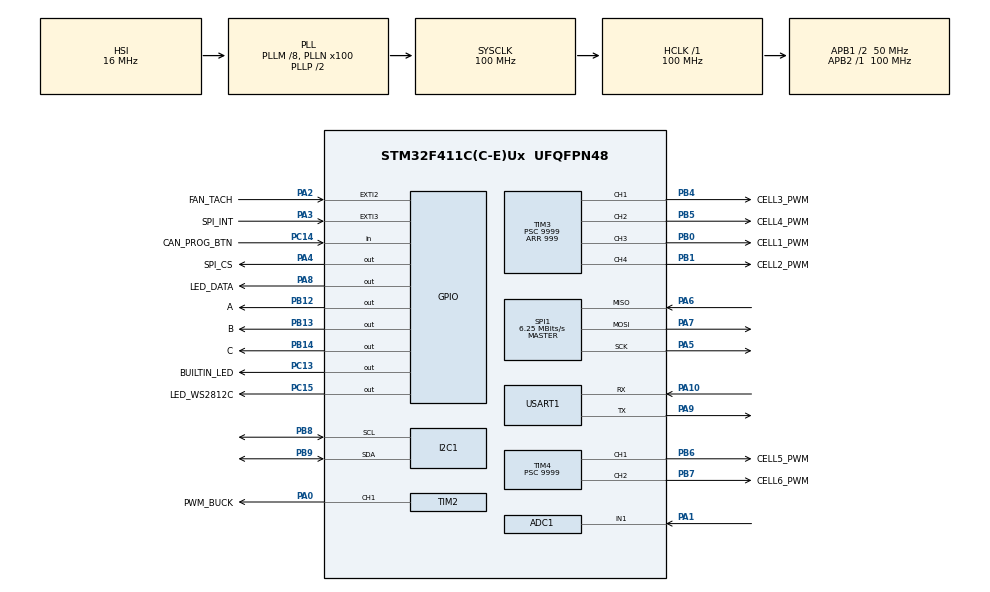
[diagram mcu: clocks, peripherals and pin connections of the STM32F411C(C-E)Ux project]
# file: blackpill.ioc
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ADC1.Channel-0\#ChannelRegularConversion=ADC_CHANNEL_1
ADC1.NbrOfConversionFlag=1
ADC1.Rank-0\#ChannelRegularConversion=1
ADC1.SamplingTime-0\#ChannelRegularConversion=ADC_SAMPLETIME_3CYCLES
ADC1.master=1
FREERTOS.Queues01=uartRxQueue,5,20,1,Dynamic,NULL,NULL
FREERTOS.Tasks01=uartTask,24,512,UartTask,Default,NULL,Dynamic,NULL,NULL;canTask,24,1024,CanTaskHandler,Default,NULL,Dynamic,NULL,NULL;chargerTask,32,512,ChargerTaskHandler,Default,NULL,Dynamic,NULL,NULL;adcTask,24,256,AdcTaskHandler,Default,NULL,Dynamic,NULL,NULL;balanceTask,8,256,BalanceTaskHandler,Default,NULL,Dynamic,NULL,NULL
FREERTOS.configTOTAL_HEAP_SIZE=40960
Mcu.Family=STM32F4
Mcu.Name=STM32F411C(C-E)Ux
Mcu.Package=UFQFPN48
NVIC.PriorityGroup=NVIC_PRIORITYGROUP_4
NVIC.TIM1_UP_TIM10_IRQn=true\:15\:0\:false\:false\:true\:false\:false\:true\:true
NVIC.TimeBase=TIM1_UP_TIM10_IRQn
NVIC.TimeBaseIP=TIM1
PA0-WKUP.GPIO_Label=PWM_BUCK
PA0-WKUP.Signal=S_TIM2_CH1_ETR
PA1.Signal=ADCx_IN1
PA10.Mode=Asynchronous
PA10.Signal=USART1_RX
PA13.Mode=Serial_Wire
PA13.Signal=SYS_JTMS-SWDIO
PA14.Mode=Serial_Wire
PA14.Signal=SYS_JTCK-SWCLK
PA2.GPIO_Label=FAN_TACH
PA2.GPIO_PuPd=GPIO_PULLUP
PA2.Signal=GPXTI2
PA3.GPIO_Label=SPI_INT
PA3.Signal=GPXTI3
PA4.GPIO_Label=SPI_CS
PA4.Signal=GPIO_Output
PA5.Mode=Full_Duplex_Master
PA5.Signal=SPI1_SCK
PA6.Mode=Full_Duplex_Master
PA6.Signal=SPI1_MISO
PA7.Mode=Full_Duplex_Master
PA7.Signal=SPI1_MOSI
PA8.GPIO_Label=LED_DATA
PA8.GPIO_PuPd=GPIO_NOPULL
PA8.GPIO_Speed=GPIO_SPEED_FREQ_HIGH
PA8.Signal=GPIO_Output
PA9.Mode=Asynchronous
PA9.Signal=USART1_TX
PB0.GPIO_Label=CELL1_PWM
PB0.Signal=S_TIM3_CH3
PB1.GPIO_Label=CELL2_PWM
PB1.Signal=S_TIM3_CH4
PB12.GPIO_Label=A
PB12.Signal=GPIO_Output
PB13.GPIO_Label=B
PB13.Signal=GPIO_Output
PB14.GPIO_Label=C
PB14.Signal=GPIO_Output
PB4.GPIO_Label=CELL3_PWM
PB4.Signal=S_TIM3_CH1
PB5.GPIO_Label=CELL4_PWM
PB5.Signal=S_TIM3_CH2
PB6.GPIO_Label=CELL5_PWM
PB6.Signal=S_TIM4_CH1
PB7.GPIO_Label=CELL6_PWM
PB7.Signal=S_TIM4_CH2
PB8.Mode=I2C
PB8.Signal=I2C1_SCL
PB9.Mode=I2C
PB9.Signal=I2C1_SDA
PC13-ANTI_TAMP.GPIO_Label=BUILTIN_LED
PC13-ANTI_TAMP.Signal=GPIO_Output
PC14-OSC32_IN.GPIO_Label=CAN_PROG_BTN
PC14-OSC32_IN.Signal=GPIO_Input
PC15-OSC32_OUT.GPIO_Label=LED_WS2812C
PC15-OSC32_OUT.Signal=GPIO_Output
PH0\ -\ OSC_IN.Mode=HSE-External-Oscillator
PH0\ -\ OSC_IN.Signal=RCC_OSC_IN
PH1\ -\ OSC_OUT.Mode=HSE-External-Oscillator
PH1\ -\ OSC_OUT.Signal=RCC_OSC_OUT
ProjectManager.HeapSize=0x200
ProjectManager.StackSize=0x400
ProjectManager.TargetToolchain=CMake
RCC.48MHZClocksFreq_Value=50000000
RCC.AHBFreq_Value=100000000
RCC.APB1CLKDivider=RCC_HCLK_DIV2
RCC.APB1Freq_Value=50000000
RCC.APB1TimFreq_Value=100000000
RCC.APB2Freq_Value=100000000
RCC.APB2TimFreq_Value=100000000
RCC.CortexFreq_Value=100000000
RCC.HCLKFreq_Value=100000000
RCC.HSE_VALUE=25000000
RCC.HSI_VALUE=16000000
RCC.LSE_VALUE=32768
RCC.PLLM=8
RCC.PLLN=100
RCC.SYSCLKFreq_VALUE=100000000
RCC.SYSCLKSource=RCC_SYSCLKSOURCE_PLLCLK
RCC.VCOOutputFreq_Value=200000000
SH.ADCx_IN1.0=ADC1_IN1,IN1
SH.S_TIM2_CH1_ETR.0=TIM2_CH1,PWM Generation1 CH1
SH.S_TIM3_CH1.0=TIM3_CH1,PWM Generation1 CH1
SH.S_TIM3_CH2.0=TIM3_CH2,PWM Generation2 CH2
SH.S_TIM3_CH3.0=TIM3_CH3,PWM Generation3 CH3
SH.S_TIM3_CH4.0=TIM3_CH4,PWM Generation4 CH4
SH.S_TIM4_CH1.0=TIM4_CH1,PWM Generation1 CH1
SH.S_TIM4_CH2.0=TIM4_CH2,PWM Generation2 CH2
SPI1.BaudRatePrescaler=SPI_BAUDRATEPRESCALER_16
SPI1.CalculateBaudRate=6.25 MBits/s
SPI1.Direction=SPI_DIRECTION_2LINES
SPI1.Mode=SPI_MODE_MASTER
SPI1.VirtualType=VM_MASTER
TIM2.Channel-PWM\ Generation1\ CH1=TIM_CHANNEL_1
TIM2.Period=666
TIM2.Pulse-PWM\ Generation1\ CH1=0
TIM3.Channel-PWM\ Generation1\ CH1=TIM_CHANNEL_1
TIM3.Channel-PWM\ Generation2\ CH2=TIM_CHANNEL_2
TIM3.Channel-PWM\ Generation3\ CH3=TIM_CHANNEL_3
TIM3.Channel-PWM\ Generation4\ CH4=TIM_CHANNEL_4
TIM3.Period=999
TIM3.Prescaler=9999
TIM3.Pulse-PWM\ Generation1\ CH1=0
TIM3.Pulse-PWM\ Generation2\ CH2=0
TIM3.Pulse-PWM\ Generation3\ CH3=0
TIM3.Pulse-PWM\ Generation4\ CH4=0
TIM4.Channel-PWM\ Generation1\ CH1=TIM_CHANNEL_1
TIM4.Channel-PWM\ Generation2\ CH2=TIM_CHANNEL_2
TIM4.Period=999
TIM4.Prescaler=9999
TIM4.Pulse-PWM\ Generation1\ CH1=0
TIM4.Pulse-PWM\ Generation2\ CH2=0
USART1.VirtualMode=VM_ASYNC
VP_FREERTOS_VS_CMSIS_V2.Mode=CMSIS_V2
VP_SYS_VS_tim1.Mode=TIM1
board=custom

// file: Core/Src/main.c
/* USER CODE BEGIN Header */
/**
  ******************************************************************************
  * @file           : main.c
  * @brief          : Main program body
  ******************************************************************************
  * @attention
  *
  * Copyright (c) 2025 STMicroelectronics.
  * All rights reserved.
  *
  * This software is licensed under terms that can be found in the LICENSE file
  * in the root directory of this software component.
  * If no LICENSE file comes with this software, it is provided AS-IS.
  *
  ******************************************************************************
  */
/* USER CODE END Header */
#include "main.h"
#include "cmsis_os.h"

/* USER CODE BEGIN Includes */
#include "cmsis_os2.h"
#include "mcp2515.h"
#include <stdint.h>
#include <stdio.h>
#include <string.h>
#include <math.h>
#include "can_process.h"
#include "param_types.h"
#include <stdlib.h>
#include "battery_charge.h"
#include "battery_balance.h"
/* USER CODE END Includes */

ADC_HandleTypeDef hadc1;

I2C_HandleTypeDef hi2c1;

SPI_HandleTypeDef hspi1;

TIM_HandleTypeDef htim2;
TIM_HandleTypeDef htim3;
TIM_HandleTypeDef htim4;

UART_HandleTypeDef huart1;

// Global balance enable flag
volatile uint8_t can_balance_enabled = 0;

/* Definitions for uartTask */
osThreadId_t uartTaskHandle;
const osThreadAttr_t uartTask_attributes = {
  .name = "uartTask",
  .stack_size = 512 * 4,  // 2KB for JSON telemetry buffer (~600 bytes)
  .priority = (osPriority_t) osPriorityBelowNormal,  // Non-critical, can be preempted
};
/* Definitions for canTask */
osThreadId_t canTaskHandle;
const osThreadAttr_t canTask_attributes = {
  .name = "canTask",
  .stack_size = 1024 * 4,
  .priority = (osPriority_t) osPriorityHigh,  // CAN is time-critical
};
/* Definitions for chargerTask */
osThreadId_t chargerTaskHandle;
const osThreadAttr_t chargerTask_attributes = {
  .name = "chargerTask",
  .stack_size = 512 * 4,
  .priority = (osPriority_t) osPriorityAboveNormal,
};
/* Definitions for adcTask */
osThreadId_t adcTaskHandle;
const osThreadAttr_t adcTask_attributes = {
  .name = "adcTask",
  .stack_size = 256 * 4,
  .priority = (osPriority_t) osPriorityNormal,
};
/* Definitions for balanceTask */
osThreadId_t balanceTaskHandle;
const osThreadAttr_t balanceTask_attributes = {
  .name = "balanceTask",
  .stack_size = 256 * 4,
  .priority = (osPriority_t) osPriorityLow,
};
/* Definitions for uartRxQueue */
osMessageQueueId_t uartRxQueueHandle;
const osMessageQueueAttr_t uartRxQueue_attributes = {
  .name = "uartRxQueue"
};
/* Definitions for voltage data mutex */
osMutexId_t voltageDataMutexHandle;
const osMutexAttr_t voltageDataMutex_attributes = {
  .name = "voltageDataMutex"
};
/* USER CODE BEGIN PV */
// Global variables to store settings
volatile float end_voltage = 24.6f;
volatile float end_voltage_storage = 20.2f; // default ~3.7V per cell for 6S
volatile float set_current = 2.0f;
volatile uint8_t system_state = 0x00; // 0x00 = System ok, 0x0X = error codes
volatile uint16_t charged_mah = 0;
volatile uint16_t charging_power = 0;
volatile uint8_t is_battery_present = 0;
volatile bool is_battery_charging = false;
volatile uint8_t manual_balance_mode = 0;  // 1 = manual PWM via CAN, skip auto logic

volatile ChargerFaultStatus charger_faults = {0};
//Fan RPM measurement variables
volatile uint32_t fan_int_count = 0;
volatile uint32_t fan_rpm = 0;

volatile uint8_t rxByte;
VoltageValues current_battery_voltages = {
  .cell = {0.0f, 0.0f, 0.0f, 0.0f, 0.0f, 0.0f},
  .cell_raw = {0, 0, 0, 0, 0, 0},
  .battery_voltage = 0.0f,
  .shunt_voltage = 0.0f,
  .buck_voltage = 0.0f,
  .current = 0.0f
};
#define CMD_MAX_LEN 64

 void uart_send_frame(const char *prefix, CAN_Frame *frame)
{
  char buffer[128];
  int len = 0;
  len += snprintf(buffer, sizeof(buffer), "%sCAN ID: 0x%03lX | DLC: %d | Data: ",
           prefix ? prefix : "", (unsigned long)frame->id, frame->dlc);
  for (uint8_t i = 0; i < frame->dlc && i < 8; i++) {
    len += snprintf(buffer + len, sizeof(buffer) - len, "%02X ", frame->data[i]);
  }
  if (frame->extended) {
    len += snprintf(buffer + len, sizeof(buffer) - len, "| EXT");
  }
  if (frame->rtr) {
    len += snprintf(buffer + len, sizeof(buffer) - len, " RTR");
  }
  len += snprintf(buffer + len, sizeof(buffer) - len, "\r\n");
  HAL_UART_Transmit(&huart1, (uint8_t*)buffer, len, HAL_MAX_DELAY);
}
static void start_pwm_or_error(TIM_HandleTypeDef *htim, uint32_t channel);

// Helper function to safely disable all PWM outputs
static inline void disable_all_pwm(void)
{
  __disable_irq();
  __HAL_TIM_SET_COMPARE(&htim2, TIM_CHANNEL_1, 0);
  __HAL_TIM_SET_COMPARE(&htim3, TIM_CHANNEL_1, 0);
  __HAL_TIM_SET_COMPARE(&htim3, TIM_CHANNEL_2, 0);
  __HAL_TIM_SET_COMPARE(&htim3, TIM_CHANNEL_3, 0);
  __HAL_TIM_SET_COMPARE(&htim3, TIM_CHANNEL_4, 0);
  __HAL_TIM_SET_COMPARE(&htim4, TIM_CHANNEL_1, 0);
  __HAL_TIM_SET_COMPARE(&htim4, TIM_CHANNEL_2, 0);
  __enable_irq();
}

// Helper function to safely read voltage data
VoltageValues get_battery_voltages_safe(void)
{
  VoltageValues snapshot;
  osMutexAcquire(voltageDataMutexHandle, osWaitForever);
  snapshot = current_battery_voltages;
  osMutexRelease(voltageDataMutexHandle);
  return snapshot;
}

// Helper function to safely write voltage data
static inline void set_battery_voltages_safe(const VoltageValues *voltages)
{
  osMutexAcquire(voltageDataMutexHandle, osWaitForever);
  current_battery_voltages = *voltages;
  osMutexRelease(voltageDataMutexHandle);
}

#if DEBUG_TELEMETRY
static const char *charger_state_to_string_public(ChargerState state)
{
  switch (state) {
    case CHARGER_STATE_IDLE: return "IDLE";
    case CHARGER_STATE_CC: return "CC";
    case CHARGER_STATE_CV: return "CV";
    case CHARGER_STATE_COMPLETE: return "COMPLETE";
    case CHARGER_STATE_FAULT: return "FAULT";
    case CHARGER_STATE_STORAGE: return "STORAGE";
    default: return "UNKNOWN";
  }
}

static inline float safe_float(float val) {
  // Simple: if exponent bits are all 1s (NaN/inf), return 0
  // Otherwise return value as-is (even if garbage - will show in JSON)
  union { float f; uint32_t u; } conv;
  conv.f = val;
  uint32_t exp = (conv.u >> 23) & 0xFF;
  if (exp == 0xFF || exp == 0) {
    return 0.0f;  // NaN, inf, or denormal
  }
  return val;
}

static void uart_send_status_json(void)
{
  static uint32_t call_counter = 0;
  call_counter++;

  VoltageValues v = get_battery_voltages_safe();

  float pack_v = 0.0f;
  for (uint8_t i = 0; i < 6; ++i) {
    pack_v += safe_float(v.cell[i]);
  }

  // If battery absent, zero out pack and cell readings
  if (!is_battery_present) {
    pack_v = 0.0f;
    v.battery_voltage = 0.0f;
    v.shunt_voltage = 0.0f;
    for (uint8_t i = 0; i < 6; ++i) {
      v.cell[i] = 0.0f;
    }
  }

  uint32_t ts_ms = HAL_GetTick();

  uint8_t duty[6];
  uint32_t pwm_raw[6];
  for (uint8_t i = 0; i < 6; ++i) {
    duty[i] = balance_get_last_duty(i);
    pwm_raw[i] = balance_get_last_pulse(i);
  }

  ChargerState st = charger_get_state();

  float pwm = safe_float(charger_get_pwm_duty());
  float pwm_counts = safe_float(charger_get_pwm_counts_raw());
  float pwm_counts_max = safe_float(charger_get_pwm_counts_max());

  // Convert floats to int.frac manually (snprintf doesn't support %f without -u _printf_float)
  // Use abs() for fractional part to handle negative values

  float pack_val = pack_v;
  int pack_v_i = (int)pack_val;
  int pack_v_f = (int)(fabsf(pack_val - pack_v_i) * 1000.0f);

  float curr_val = safe_float(v.current);
  int curr_i = (int)curr_val;
  int curr_f = (int)(fabsf(curr_val - curr_i) * 1000.0f);

  float buck_val = safe_float(v.buck_voltage);
  int buck_i = (int)buck_val;
  int buck_f = (int)(fabsf(buck_val - buck_i) * 1000.0f);

  float batt_val = safe_float(v.battery_voltage);
  int batt_i = (int)batt_val;
  int batt_f = (int)(fabsf(batt_val - batt_i) * 1000.0f);

  float shunt_val = safe_float(v.shunt_voltage);
  int shunt_i = (int)shunt_val;
  int shunt_f = (int)(fabsf(shunt_val - shunt_i) * 1000.0f);

  float c0_val = safe_float(v.cell[0]); int c0_i = (int)c0_val; int c0_f = (int)(fabsf(c0_val - c0_i) * 1000.0f);
  float c1_val = safe_float(v.cell[1]); int c1_i = (int)c1_val; int c1_f = (int)(fabsf(c1_val - c1_i) * 1000.0f);
  float c2_val = safe_float(v.cell[2]); int c2_i = (int)c2_val; int c2_f = (int)(fabsf(c2_val - c2_i) * 1000.0f);
  float c3_val = safe_float(v.cell[3]); int c3_i = (int)c3_val; int c3_f = (int)(fabsf(c3_val - c3_i) * 1000.0f);
  float c4_val = safe_float(v.cell[4]); int c4_i = (int)c4_val; int c4_f = (int)(fabsf(c4_val - c4_i) * 1000.0f);
  float c5_val = safe_float(v.cell[5]); int c5_i = (int)c5_val; int c5_f = (int)(fabsf(c5_val - c5_i) * 1000.0f);

  int pwm_i = (int)pwm; int pwm_f = (int)(fabsf(pwm - pwm_i) * 100.0f);
  int pwm_cnt = (int)pwm_counts; int pwm_max = (int)pwm_counts_max;

  float tgt_v_val = safe_float(end_voltage); int tgt_v_i = (int)tgt_v_val; int tgt_v_f = (int)(fabsf(tgt_v_val - tgt_v_i) * 100.0f);
  float tgt_i_val = safe_float(set_current); int tgt_i_i = (int)tgt_i_val; int tgt_i_f = (int)(fabsf(tgt_i_val - tgt_i_i) * 100.0f);

    char json[600];
  int len = snprintf(
      json,
      sizeof(json),
      "{\"ts_ms\":%lu,\"pack\":{\"present\":%u,\"v\":%d.%03d,\"i\":%d.%03d,\"buck\":%d.%03d,\"battery\":%d.%03d,\"shunt\":%d.%03d},"
      "\"cells\":[%d.%03d,%d.%03d,%d.%03d,%d.%03d,%d.%03d,%d.%03d],"
      "\"balance\":{\"enabled\":%u,\"duties\":[%u,%u,%u,%u,%u,%u],\"pwm_raw\":[%lu,%lu,%lu,%lu,%lu,%lu]},"
      "\"charger\":{\"state\":\"%s\",\"pwm\":%d.%02d,\"pwm_raw\":%d,\"pwm_max\":%d,\"target_v\":%d.%02d,\"target_i\":%d.%02d,\"charged_mah\":%u,\"power_w\":%u},"
      "\"fan\":{\"rpm\":%lu,\"status\":\"%s\"}}\r\n",
      ts_ms,
      is_battery_present,
      pack_v_i, pack_v_f, curr_i, curr_f, buck_i, buck_f, batt_i, batt_f, shunt_i, shunt_f,
      c0_i, c0_f, c1_i, c1_f, c2_i, c2_f, c3_i, c3_f, c4_i, c4_f, c5_i, c5_f,
      can_balance_enabled,
      duty[0], duty[1], duty[2], duty[3], duty[4], duty[5],
      pwm_raw[0], pwm_raw[1], pwm_raw[2], pwm_raw[3], pwm_raw[4], pwm_raw[5],
      charger_state_to_string_public(st),
      pwm_i, pwm_f, pwm_cnt, pwm_max, tgt_v_i, tgt_v_f, tgt_i_i, tgt_i_f, charged_mah, charging_power,
      fan_rpm, charger_faults.fan_error ? "FAULT" : "OK");

  if (len > 0 && len < (int)sizeof(json)) {
    (void)HAL_UART_Transmit(&huart1, (uint8_t *)json, (uint16_t)len, 200);
  }
}
#else
static inline void uart_send_status_json(void) {(void)0;}
#endif

volatile uint8_t CAN_ID = 0x75; // Default value, will be overwritten on startup

/* USER CODE END PV */

void SystemClock_Config(void);
static void MX_GPIO_Init(void);
static void MX_SPI1_Init(void);
static void MX_USART1_UART_Init(void);
static void MX_ADC1_Init(void);
static void MX_I2C1_Init(void);
static void MX_TIM2_Init(void);
static void MX_TIM3_Init(void);
static void MX_TIM4_Init(void);
void UartTask(void *argument);
void CanTaskHandler(void *argument);
void ChargerTaskHandler(void *argument);
void AdcTaskHandler(void *argument);
void BalanceTaskHandler(void *argument);

int main(void)
{

  /* MCU Configuration--------------------------------------------------------*/

  /* Reset of all peripherals, Initializes the Flash interface and the Systick. */
  HAL_Init();

  /* Configure the system clock */
  SystemClock_Config();

  /* Initialize all configured peripherals */
  MX_GPIO_Init();
  MX_SPI1_Init();
  MX_USART1_UART_Init();
  MX_ADC1_Init();
  MX_I2C1_Init();
  MX_TIM2_Init();
  MX_TIM3_Init();
  MX_TIM4_Init();
  /* USER CODE BEGIN 2 */
  HAL_TIM_PWM_Start(&htim2, TIM_CHANNEL_1);

  // Disable all balancer PWM channels on startup
  balance_disable_all_cells();

  // WS2812 LEDs completely disabled - pin set to ANALOG in MX_GPIO_Init
  // HAL_GPIO_WritePin(LED_WS2812C_GPIO_Port, LED_WS2812C_Pin, GPIO_PIN_RESET);

  ChargerControllerCfg charger_cfg = {
    // PI gains tuned down to prevent oscillation and overshoot.
    // Kp provides primary response, Ki corrects for steady-state error.
    .current_kp = 15.0f,      // Reduced from 50.0f to be less aggressive
    .current_ki = 2.0f,       // Reduced from 10.0f
    .voltage_kp = 0.2f,
    .voltage_ki = 0.05f,
    .integral_limit = 600.0f,
    .duty_min = 3.0f,
    .duty_max = 95.0f,
    .voltage_hysteresis = 0.2f,
    .termination_current = 0.5f,
    .termination_hold_ms = 5000,
    .cell_overvoltage_limit = 4.25f,
    .update_period_ms = 100,
    .control_mode = CHARGER_CTRL_PI
  };
  charger_controller_init(charger_cfg);
  charger_set_targets(end_voltage, set_current);

  /* Start UART interrupt-driven receive for 1 byte */
  HAL_UART_Receive_IT(&huart1, (uint8_t *)&rxByte, 1);

  // Read CAN ID from flash on startup
  CAN_ID = ParamStore_Read_CAN_ID();
  FlashParams startup_params = ReadAllParams();
  if (startup_params.storage_volt > 0.0f) {
    end_voltage_storage = startup_params.storage_volt;
  }
  if(DEBUG_INFO){
  char canid_msg[64];
  snprintf(canid_msg, sizeof(canid_msg), "[INIT] Startup CAN_ID from flash: 0x%02X\r\n", CAN_ID);
  HAL_UART_Transmit(&huart1, (uint8_t*)canid_msg, strlen(canid_msg), HAL_MAX_DELAY);
  // Initialize MCP2515 with 125kbps CAN speed
  const char* init_msg = "[INIT] Initializing MCP2515 at 125kbps...\r\n";
  HAL_UART_Transmit(&huart1, (uint8_t*)init_msg, strlen(init_msg), HAL_MAX_DELAY);
  }
  // Add small delay for MCP2515 power-up
  HAL_Delay(100);

  MCP2515_ERROR result = MCP2515_Init(&hspi1, CAN_125KBPS);

  if (result == MCP2515_OK) {
    if(DEBUG_INFO){
      const char* success_init_msg = "[INIT] MCP2515 initialization successful.\r\n";
      HAL_UART_Transmit(&huart1, (uint8_t*)success_init_msg, strlen(success_init_msg), HAL_MAX_DELAY);
    }
    const char* success_msg = "[INIT] MCP2515 initialized successfully!\r\n";
    HAL_UART_Transmit(&huart1, (uint8_t*)success_msg, strlen(success_msg), HAL_MAX_DELAY);
  } else {
    char error_msg[100];
      snprintf(error_msg, sizeof(error_msg), "[ERROR] MCP2515 initialization failed! Error: %d\r\n", result);
      HAL_UART_Transmit(&huart1, (uint8_t*)error_msg, strlen(error_msg), HAL_MAX_DELAY);
    // Try to read a register to test SPI communication
    HAL_Delay(10);
    uint8_t test_read = MCP2515_ReadRegister(&hspi1, MCP2515_CANSTAT);
    if(DEBUG_INFO) {
      snprintf(error_msg, sizeof(error_msg), "[INIT] CANSTAT register read: 0x%02X\r\n", test_read);
      HAL_UART_Transmit(&huart1, (uint8_t*)error_msg, strlen(error_msg), HAL_MAX_DELAY);
    }
    // Continue anyway to allow debugging
  }
if (DEBUG_INFO) {
  const char* ready_msg = "[INIT] Ready to receive CAN messages...\r\n";
  HAL_UART_Transmit(&huart1, (uint8_t*)ready_msg, strlen(ready_msg), HAL_MAX_DELAY);
}

  /* USER CODE END 2 */

  /* Init scheduler */
  osKernelInitialize();

  /* USER CODE BEGIN RTOS_MUTEX */
  /* add mutexes, ... */
  voltageDataMutexHandle = osMutexNew(&voltageDataMutex_attributes);
  if (voltageDataMutexHandle == NULL) {
    Error_Handler();  // Failed to create mutex
  }
  /* USER CODE END RTOS_MUTEX */

  /* Create the queue(s) */
  /* creation of uartRxQueue */
  uartRxQueueHandle = osMessageQueueNew(64, sizeof(uint8_t), &uartRxQueue_attributes);

  /* USER CODE BEGIN RTOS_QUEUES */
  /* add queues, ... */
  if (uartRxQueueHandle == NULL) {
    Error_Handler();  // Failed to create queue
  }
  /* USER CODE END RTOS_QUEUES */

  /* Create the thread(s) */
  /* creation of uartTask */
  uartTaskHandle = osThreadNew(UartTask, NULL, &uartTask_attributes);

  /* creation of canTask */
  canTaskHandle = osThreadNew(CanTaskHandler, NULL, &canTask_attributes);

  /* creation of chargerTask */
  chargerTaskHandle = osThreadNew(ChargerTaskHandler, NULL, &chargerTask_attributes);

  /* creation of adcTask */
  adcTaskHandle = osThreadNew(AdcTaskHandler, NULL, &adcTask_attributes);

  /* creation of balanceTask */
  balanceTaskHandle = osThreadNew(BalanceTaskHandler, NULL, &balanceTask_attributes);

  /* USER CODE BEGIN RTOS_THREADS */
  /* Validate all tasks were created successfully */
  if (uartTaskHandle == NULL || canTaskHandle == NULL ||
      chargerTaskHandle == NULL || adcTaskHandle == NULL ||
      balanceTaskHandle == NULL) {
    Error_Handler();  // Failed to create one or more tasks
  }

  /* USER CODE BEGIN RTOS_THREADS */
  /* add threads, ... */
  /* USER CODE END RTOS_THREADS */

  /* USER CODE BEGIN RTOS_EVENTS */
  /* add events, ... */
  // HAL_UART_Receive_IT already called in USER CODE BEGIN 2

  /* USER CODE END RTOS_EVENTS */

  /* Start scheduler */
  osKernelStart();

  /* We should never get here as control is now taken by the scheduler */

  /* Infinite loop */
  while (1)
  {

    /* USER CODE BEGIN 3 */
    // This should never be reached as control is taken by FreeRTOS scheduler
  }
  /* USER CODE END 3 */
}

void SystemClock_Config(void)
{
  RCC_OscInitTypeDef RCC_OscInitStruct = {0};
  RCC_ClkInitTypeDef RCC_ClkInitStruct = {0};

  /** Configure the main internal regulator output voltage
  */
  __HAL_RCC_PWR_CLK_ENABLE();
  __HAL_PWR_VOLTAGESCALING_CONFIG(PWR_REGULATOR_VOLTAGE_SCALE1);

  /** Initializes the RCC Oscillators according to the specified parameters
  * in the RCC_OscInitTypeDef structure.
  */
  RCC_OscInitStruct.OscillatorType = RCC_OSCILLATORTYPE_HSI;
  RCC_OscInitStruct.HSIState = RCC_HSI_ON;
  RCC_OscInitStruct.HSICalibrationValue = RCC_HSICALIBRATION_DEFAULT;
  RCC_OscInitStruct.PLL.PLLState = RCC_PLL_ON;
  RCC_OscInitStruct.PLL.PLLSource = RCC_PLLSOURCE_HSI;
  RCC_OscInitStruct.PLL.PLLM = 8;
  RCC_OscInitStruct.PLL.PLLN = 100;
  RCC_OscInitStruct.PLL.PLLP = RCC_PLLP_DIV2;
  RCC_OscInitStruct.PLL.PLLQ = 4;
  if (HAL_RCC_OscConfig(&RCC_OscInitStruct) != HAL_OK)
  {
    Error_Handler();
  }

  /** Initializes the CPU, AHB and APB buses clocks
  */
  RCC_ClkInitStruct.ClockType = RCC_CLOCKTYPE_HCLK|RCC_CLOCKTYPE_SYSCLK
                              |RCC_CLOCKTYPE_PCLK1|RCC_CLOCKTYPE_PCLK2;
  RCC_ClkInitStruct.SYSCLKSource = RCC_SYSCLKSOURCE_PLLCLK;
  RCC_ClkInitStruct.AHBCLKDivider = RCC_SYSCLK_DIV1;
  RCC_ClkInitStruct.APB1CLKDivider = RCC_HCLK_DIV2;
  RCC_ClkInitStruct.APB2CLKDivider = RCC_HCLK_DIV1;

  if (HAL_RCC_ClockConfig(&RCC_ClkInitStruct, FLASH_LATENCY_3) != HAL_OK)
  {
    Error_Handler();
  }
}

static void MX_ADC1_Init(void)
{

  ADC_ChannelConfTypeDef sConfig = {0};

  /** Configure the global features of the ADC (Clock, Resolution, Data Alignment and number of conversion)
  */
  hadc1.Instance = ADC1;
  hadc1.Init.ClockPrescaler = ADC_CLOCK_SYNC_PCLK_DIV4;
  hadc1.Init.Resolution = ADC_RESOLUTION_12B;
  hadc1.Init.ScanConvMode = DISABLE;
  hadc1.Init.ContinuousConvMode = DISABLE;
  hadc1.Init.DiscontinuousConvMode = DISABLE;
  hadc1.Init.ExternalTrigConvEdge = ADC_EXTERNALTRIGCONVEDGE_NONE;
  hadc1.Init.ExternalTrigConv = ADC_SOFTWARE_START;
  hadc1.Init.DataAlign = ADC_DATAALIGN_RIGHT;
  hadc1.Init.NbrOfConversion = 1;
  hadc1.Init.DMAContinuousRequests = DISABLE;
  hadc1.Init.EOCSelection = ADC_EOC_SINGLE_CONV;
  if (HAL_ADC_Init(&hadc1) != HAL_OK)
  {
    Error_Handler();
  }

  /** Configure for the selected ADC regular channel its corresponding rank in the sequencer and its sample time.
  */
  sConfig.Channel = ADC_CHANNEL_1;
  sConfig.Rank = 1;
  sConfig.SamplingTime = ADC_SAMPLETIME_3CYCLES;
  if (HAL_ADC_ConfigChannel(&hadc1, &sConfig) != HAL_OK)
  {
    Error_Handler();
  }

}

static void MX_I2C1_Init(void)
{

  hi2c1.Instance = I2C1;
  hi2c1.Init.ClockSpeed = 100000;
  hi2c1.Init.DutyCycle = I2C_DUTYCYCLE_2;
  hi2c1.Init.OwnAddress1 = 0;
  hi2c1.Init.AddressingMode = I2C_ADDRESSINGMODE_7BIT;
  hi2c1.Init.DualAddressMode = I2C_DUALADDRESS_DISABLE;
  hi2c1.Init.OwnAddress2 = 0;
  hi2c1.Init.GeneralCallMode = I2C_GENERALCALL_DISABLE;
  hi2c1.Init.NoStretchMode = I2C_NOSTRETCH_DISABLE;
  if (HAL_I2C_Init(&hi2c1) != HAL_OK)
  {
    Error_Handler();
  }

}

static void MX_SPI1_Init(void)
{

  /* SPI1 parameter configuration*/
  hspi1.Instance = SPI1;
  hspi1.Init.Mode = SPI_MODE_MASTER;
  hspi1.Init.Direction = SPI_DIRECTION_2LINES;
  hspi1.Init.DataSize = SPI_DATASIZE_8BIT;
  hspi1.Init.CLKPolarity = SPI_POLARITY_LOW;
  hspi1.Init.CLKPhase = SPI_PHASE_1EDGE;
  hspi1.Init.NSS = SPI_NSS_SOFT;
  hspi1.Init.BaudRatePrescaler = SPI_BAUDRATEPRESCALER_16;
  hspi1.Init.FirstBit = SPI_FIRSTBIT_MSB;
  hspi1.Init.TIMode = SPI_TIMODE_DISABLE;
  hspi1.Init.CRCCalculation = SPI_CRCCALCULATION_DISABLE;
  hspi1.Init.CRCPolynomial = 10;
  if (HAL_SPI_Init(&hspi1) != HAL_OK)
  {
    Error_Handler();
  }

}

static void MX_TIM2_Init(void)
{

  TIM_MasterConfigTypeDef sMasterConfig = {0};
  TIM_OC_InitTypeDef sConfigOC = {0};

  htim2.Instance = TIM2;
  htim2.Init.Prescaler = 0;
  htim2.Init.CounterMode = TIM_COUNTERMODE_UP;
  htim2.Init.Period = 666;
  htim2.Init.ClockDivision = TIM_CLOCKDIVISION_DIV1;
  htim2.Init.AutoReloadPreload = TIM_AUTORELOAD_PRELOAD_DISABLE;
  if (HAL_TIM_PWM_Init(&htim2) != HAL_OK)
  {
    Error_Handler();
  }
  sMasterConfig.MasterOutputTrigger = TIM_TRGO_RESET;
  sMasterConfig.MasterSlaveMode = TIM_MASTERSLAVEMODE_DISABLE;
  if (HAL_TIMEx_MasterConfigSynchronization(&htim2, &sMasterConfig) != HAL_OK)
  {
    Error_Handler();
  }
  sConfigOC.OCMode = TIM_OCMODE_PWM1;
  sConfigOC.Pulse = 0;
  sConfigOC.OCPolarity = TIM_OCPOLARITY_HIGH;
  sConfigOC.OCFastMode = TIM_OCFAST_DISABLE;
  if (HAL_TIM_PWM_ConfigChannel(&htim2, &sConfigOC, TIM_CHANNEL_1) != HAL_OK)
  {
    Error_Handler();
  }
  HAL_TIM_MspPostInit(&htim2);

}

static void MX_TIM3_Init(void)
{

  TIM_MasterConfigTypeDef sMasterConfig = {0};
  TIM_OC_InitTypeDef sConfigOC = {0};

  htim3.Instance = TIM3;
  htim3.Init.Prescaler = 9999;
  htim3.Init.CounterMode = TIM_COUNTERMODE_UP;
  htim3.Init.Period = 999;
  htim3.Init.ClockDivision = TIM_CLOCKDIVISION_DIV1;
  htim3.Init.AutoReloadPreload = TIM_AUTORELOAD_PRELOAD_DISABLE;
  if (HAL_TIM_PWM_Init(&htim3) != HAL_OK)
  {
    Error_Handler();
  }
  sMasterConfig.MasterOutputTrigger = TIM_TRGO_RESET;
  sMasterConfig.MasterSlaveMode = TIM_MASTERSLAVEMODE_DISABLE;
  if (HAL_TIMEx_MasterConfigSynchronization(&htim3, &sMasterConfig) != HAL_OK)
  {
    Error_Handler();
  }
  sConfigOC.OCMode = TIM_OCMODE_PWM1;
  sConfigOC.Pulse = 0;
  sConfigOC.OCPolarity = TIM_OCPOLARITY_HIGH;
  sConfigOC.OCFastMode = TIM_OCFAST_DISABLE;
  if (HAL_TIM_PWM_ConfigChannel(&htim3, &sConfigOC, TIM_CHANNEL_1) != HAL_OK)
  {
    Error_Handler();
  }
  if (HAL_TIM_PWM_ConfigChannel(&htim3, &sConfigOC, TIM_CHANNEL_2) != HAL_OK)
  {
    Error_Handler();
  }
  if (HAL_TIM_PWM_ConfigChannel(&htim3, &sConfigOC, TIM_CHANNEL_3) != HAL_OK)
  {
    Error_Handler();
  }
  if (HAL_TIM_PWM_ConfigChannel(&htim3, &sConfigOC, TIM_CHANNEL_4) != HAL_OK)
  {
    Error_Handler();
  }
  HAL_TIM_MspPostInit(&htim3);

}

static void MX_TIM4_Init(void)
{

  TIM_MasterConfigTypeDef sMasterConfig = {0};
  TIM_OC_InitTypeDef sConfigOC = {0};

  htim4.Instance = TIM4;
  htim4.Init.Prescaler = 9999;
  htim4.Init.CounterMode = TIM_COUNTERMODE_UP;
  htim4.Init.Period = 999;
  htim4.Init.ClockDivision = TIM_CLOCKDIVISION_DIV1;
  htim4.Init.AutoReloadPreload = TIM_AUTORELOAD_PRELOAD_DISABLE;
  if (HAL_TIM_PWM_Init(&htim4) != HAL_OK)
  {
    Error_Handler();
  }
  sMasterConfig.MasterOutputTrigger = TIM_TRGO_RESET;
  sMasterConfig.MasterSlaveMode = TIM_MASTERSLAVEMODE_DISABLE;
  if (HAL_TIMEx_MasterConfigSynchronization(&htim4, &sMasterConfig) != HAL_OK)
  {
    Error_Handler();
  }
  sConfigOC.OCMode = TIM_OCMODE_PWM1;
  sConfigOC.Pulse = 0;
  sConfigOC.OCPolarity = TIM_OCPOLARITY_HIGH;
  sConfigOC.OCFastMode = TIM_OCFAST_DISABLE;
  if (HAL_TIM_PWM_ConfigChannel(&htim4, &sConfigOC, TIM_CHANNEL_1) != HAL_OK)
  {
    Error_Handler();
  }
  if (HAL_TIM_PWM_ConfigChannel(&htim4, &sConfigOC, TIM_CHANNEL_2) != HAL_OK)
  {
    Error_Handler();
  }
  /* USER CODE BEGIN TIM4_Init 2 */
  start_pwm_or_error(&htim4, TIM_CHANNEL_2);
  start_pwm_or_error(&htim4, TIM_CHANNEL_1);
  start_pwm_or_error(&htim3, TIM_CHANNEL_1);
  start_pwm_or_error(&htim3, TIM_CHANNEL_2);
  start_pwm_or_error(&htim3, TIM_CHANNEL_3);
  start_pwm_or_error(&htim3, TIM_CHANNEL_4);
  start_pwm_or_error(&htim2, TIM_CHANNEL_1);
  /* USER CODE END TIM4_Init 2 */
  HAL_TIM_MspPostInit(&htim4);

}

static void MX_USART1_UART_Init(void)
{

  huart1.Instance = USART1;
  huart1.Init.BaudRate = 921600;
  huart1.Init.WordLength = UART_WORDLENGTH_8B;
  huart1.Init.StopBits = UART_STOPBITS_1;
  huart1.Init.Parity = UART_PARITY_NONE;
  huart1.Init.Mode = UART_MODE_TX_RX;
  huart1.Init.HwFlowCtl = UART_HWCONTROL_NONE;
  huart1.Init.OverSampling = UART_OVERSAMPLING_16;
  if (HAL_UART_Init(&huart1) != HAL_OK)
  {
    Error_Handler();
  }

}

static void MX_GPIO_Init(void)
{
  GPIO_InitTypeDef GPIO_InitStruct = {0};

  /* GPIO Ports Clock Enable */
  __HAL_RCC_GPIOC_CLK_ENABLE();
  __HAL_RCC_GPIOH_CLK_ENABLE();
  __HAL_RCC_GPIOA_CLK_ENABLE();
  __HAL_RCC_GPIOB_CLK_ENABLE();

  /*Configure GPIO pin Output Level */
  HAL_GPIO_WritePin(GPIOC, BUILTIN_LED_Pin, GPIO_PIN_RESET);

  /*Configure GPIO pin Output Level */
  HAL_GPIO_WritePin(GPIOA, SPI_CS_Pin|LED_DATA_Pin, GPIO_PIN_RESET);

  /*Configure GPIO pin Output Level */
  HAL_GPIO_WritePin(GPIOB, A_Pin|B_Pin|C_Pin, GPIO_PIN_RESET);

  /*Configure GPIO pin : BUILTIN_LED_Pin */
  GPIO_InitStruct.Pin = BUILTIN_LED_Pin;
  GPIO_InitStruct.Mode = GPIO_MODE_OUTPUT_PP;
  GPIO_InitStruct.Pull = GPIO_NOPULL;
  GPIO_InitStruct.Speed = GPIO_SPEED_FREQ_LOW;
  HAL_GPIO_Init(GPIOC, &GPIO_InitStruct);

  /*Configure GPIO pin : LED_WS2812C_Pin - DISABLED, set as analog to prevent driving LEDs */
  GPIO_InitStruct.Pin = LED_WS2812C_Pin;
  GPIO_InitStruct.Mode = GPIO_MODE_ANALOG;
  GPIO_InitStruct.Pull = GPIO_NOPULL;
  HAL_GPIO_Init(GPIOC, &GPIO_InitStruct);

  /*Configure GPIO pin : CAN_PROG_BTN_Pin */
  GPIO_InitStruct.Pin = CAN_PROG_BTN_Pin;
  GPIO_InitStruct.Mode = GPIO_MODE_INPUT;
  GPIO_InitStruct.Pull = GPIO_NOPULL;
  HAL_GPIO_Init(CAN_PROG_BTN_GPIO_Port, &GPIO_InitStruct);

  /*Configure GPIO pin : FAN_TACH_Pin */
  GPIO_InitStruct.Pin = FAN_TACH_Pin;
  GPIO_InitStruct.Mode = GPIO_MODE_IT_RISING;
  GPIO_InitStruct.Pull = GPIO_PULLUP;
  HAL_GPIO_Init(FAN_TACH_GPIO_Port, &GPIO_InitStruct);

  /*Configure GPIO pin : SPI_INT_Pin */
  GPIO_InitStruct.Pin = SPI_INT_Pin;
  GPIO_InitStruct.Mode = GPIO_MODE_IT_RISING;
  GPIO_InitStruct.Pull = GPIO_NOPULL;
  HAL_GPIO_Init(SPI_INT_GPIO_Port, &GPIO_InitStruct);

  /*Configure GPIO pin : SPI_CS_Pin */
  GPIO_InitStruct.Pin = SPI_CS_Pin;
  GPIO_InitStruct.Mode = GPIO_MODE_OUTPUT_PP;
  GPIO_InitStruct.Pull = GPIO_NOPULL;
  GPIO_InitStruct.Speed = GPIO_SPEED_FREQ_LOW;
  HAL_GPIO_Init(SPI_CS_GPIO_Port, &GPIO_InitStruct);

  /*Configure GPIO pins : A_Pin B_Pin C_Pin */
  GPIO_InitStruct.Pin = A_Pin|B_Pin|C_Pin;
  GPIO_InitStruct.Mode = GPIO_MODE_OUTPUT_PP;
  GPIO_InitStruct.Pull = GPIO_NOPULL;
  GPIO_InitStruct.Speed = GPIO_SPEED_FREQ_LOW;
  HAL_GPIO_Init(GPIOB, &GPIO_InitStruct);

  /*Configure GPIO pin : LED_DATA_Pin */
  GPIO_InitStruct.Pin = LED_DATA_Pin;
  GPIO_InitStruct.Mode = GPIO_MODE_OUTPUT_PP;
  GPIO_InitStruct.Pull = GPIO_NOPULL;
  GPIO_InitStruct.Speed = GPIO_SPEED_FREQ_HIGH;
  HAL_GPIO_Init(LED_DATA_GPIO_Port, &GPIO_InitStruct);

  /* USER CODE BEGIN MX_GPIO_Init_2 */

  /*Configure GPIO pin : PA3 (MCP2515 INT) */
  GPIO_InitStruct.Pin = GPIO_PIN_3;
  GPIO_InitStruct.Mode = GPIO_MODE_IT_FALLING;  // Interrupt on falling edge
  GPIO_InitStruct.Pull = GPIO_PULLUP;           // Internal pull-up
  HAL_GPIO_Init(GPIOA, &GPIO_InitStruct);

  /* Enable EXTI3 interrupt */
  HAL_NVIC_SetPriority(EXTI3_IRQn, 5, 0);
  HAL_NVIC_EnableIRQ(EXTI3_IRQn);

  HAL_NVIC_SetPriority(EXTI2_IRQn, 5, 0);
  HAL_NVIC_EnableIRQ(EXTI2_IRQn);

  /* USER CODE END MX_GPIO_Init_2 */
}

/* USER CODE BEGIN 4 */
// Helper to start PWM and call Error_Handler on failure
static void start_pwm_or_error(TIM_HandleTypeDef *htim, uint32_t channel)
{
  if (HAL_TIM_PWM_Start(htim, channel) != HAL_OK)
  {
    Error_Handler();
  }
}

/**
  * @brief  EXTI line detection callback
  * @param  GPIO_Pin: Specifies the pins connected EXTI line
  * @retval None
  */
void HAL_GPIO_EXTI_Callback(uint16_t GPIO_Pin)
{
        // char msg[64];

  if (GPIO_Pin == FAN_TACH_Pin) {
    fan_int_count++;
  }

  if (GPIO_Pin == GPIO_PIN_3) {
    // MCP2515 INT pin triggered - notify CAN task
    BaseType_t xHigherPriorityTaskWoken = pdFALSE;
    vTaskNotifyGiveFromISR(canTaskHandle, &xHigherPriorityTaskWoken);
    portYIELD_FROM_ISR(xHigherPriorityTaskWoken);
  }
}

/**
 * @brief UART Rx complete callback
 * This is called from HAL when one byte is received via interrupt.
 */
void HAL_UART_RxCpltCallback(UART_HandleTypeDef *huart)
{
    if (huart->Instance == USART1) {

        // Wysyłamy bajt do kolejki (z ISR)
        osMessageQueuePut(uartRxQueueHandle, (const void *)&rxByte, 0, 0);

        // Uruchamiamy ponownie odbiór następnego bajtu
        HAL_UART_Receive_IT(&huart1, (uint8_t *)&rxByte, 1);
    }
}
void EXTI2_IRQHandler(void)
{
    HAL_GPIO_EXTI_IRQHandler(GPIO_PIN_2);
}
/* USER CODE END 4 */

void UartTask(void *argument)
{
  /* USER CODE BEGIN 5 */

 uint8_t c;
    char cmd[CMD_MAX_LEN];
    uint8_t idx = 0;
    uint8_t last_was_eol = 0;
  uint32_t last_status_tick = HAL_GetTick();

  // Always announce UART task startup
  HAL_UART_Transmit(&huart1, (uint8_t*)"[INIT] UART Task started\r\n", 26, 100);
#if DEBUG_TELEMETRY
  HAL_UART_Transmit(&huart1, (uint8_t*)"[INIT] Telemetry enabled (500ms)\r\n", 34, 100);
#else
  HAL_UART_Transmit(&huart1, (uint8_t*)"[INIT] Telemetry disabled\r\n", 27, 100);
#endif
for (;;) {
  // Drain the queue quickly to avoid overflow at high baudrates
  while (osMessageQueueGet(uartRxQueueHandle, &c, NULL, 0) == osOK) {
    if ((c == '\r' || c == '\n')) {
      if (!last_was_eol) {
        cmd[idx] = '\0';

        // Parse SETID command (accept SETID=0xNN or SETID=NN)
        if (strncmp(cmd, "SETID=", 6) == 0) {
          long parsed = strtol(cmd + 6, NULL, 0); // base 0 accepts 0x/0X or decimal
          if (parsed < 0 || parsed > 0xFF) {
            const char *err = "[RESPONSE] Invalid CAN_ID (must be 0x00-0xFF)\r\n";
            HAL_UART_Transmit(&huart1, (uint8_t*)err, strlen(err), HAL_MAX_DELAY);
          } else {
            uint8_t new_id = (uint8_t)parsed;
            ParamStore_Save_CAN_ID(new_id);
            CAN_ID = ParamStore_Read_CAN_ID(); // update global CAN_ID
            char msg[48];
            snprintf(msg, sizeof(msg), "[RESPONSE] CAN_ID set to 0x%02X\r\n", CAN_ID);
            HAL_UART_Transmit(&huart1, (uint8_t*)msg, strlen(msg), HAL_MAX_DELAY);
          }
        }
        // Parse GETID command
        else if (strcmp(cmd, "GETID") == 0) {
          uint8_t current_id = ParamStore_Read_CAN_ID();
          PrintAllParamsToUART();
          char msg[32];
          snprintf(msg, sizeof(msg), "[RESPONSE] CAN_ID is 0x%02X\r\n", current_id);
          HAL_UART_Transmit(&huart1, (uint8_t*)msg, strlen(msg), HAL_MAX_DELAY);
        } else {
          // Respond with error for unknown command
          const char *err_msg = "[RESPONSE] Unknown command\r\n";
          HAL_UART_Transmit(&huart1, (uint8_t*)err_msg, strlen(err_msg), HAL_MAX_DELAY);
        }
        idx = 0;
        last_was_eol = 1;
      }
    } else if (idx < CMD_MAX_LEN - 1) {
      cmd[idx++] = c;
      last_was_eol = 0;
    }
  }

    // Moved outside queue check - always runs even if no RX data
    uint32_t now = HAL_GetTick();
#if DEBUG_TELEMETRY
    static uint32_t loop_counter = 0;
    loop_counter++;

    if ((now - last_status_tick) >= 200U) {
      uart_send_status_json();
      last_status_tick = now;
    }
#endif

    // Yield to other tasks to prevent starvation
    osDelay(1);
  }

  /* USER CODE END 5 */
}

void CanTaskHandler(void *argument)
{
  /* USER CODE BEGIN CanTaskHandler */
  CAN_Frame rxFrame;

  // Send startup message
  const char* task_start = "[INIT] CAN Task started\r\n";
  HAL_UART_Transmit(&huart1, (uint8_t*)task_start, strlen(task_start), HAL_MAX_DELAY);

  /* Infinite loop */
  for(;;)
  {

    // Wait for notification from ISR (blocking, efficient)
    ulTaskNotifyTake(pdTRUE, portMAX_DELAY);
    // Process all available CAN messages
    while (MCP2515_CheckReceive(&hspi1)) {
        // Read CAN message
        if (MCP2515_ReadMessage(&hspi1, &rxFrame) == MCP2515_OK) {

    // Modular CAN frame processing
    ProcessCanFrame(&rxFrame);
        }
    }

    // Check for CAN errors less frequently
    static uint32_t error_check_count = 0;
    if (++error_check_count >= 10) {  // Check errors every 10 iterations
        error_check_count = 0;
        uint8_t error = MCP2515_CheckError(&hspi1);
        if (error != 0) {
          // Clear error flags by writing 0 to EFLG register
          MCP2515_WriteRegister(&hspi1, MCP2515_EFLG, 0x00);
          // Also clear interrupt flags
          MCP2515_WriteRegister(&hspi1, MCP2515_CANINTF, 0x00);
        }
    }
  }
  /* USER CODE END CanTaskHandler */
}

void ChargerTaskHandler(void *argument)
{
  /* USER CODE BEGIN ChargerTaskHandler */
  static uint8_t was_charging = 0;
  static float accumulated_mah = 0.0f;
  static float filtered_power = 0.0f;
  const float alpha = 0.2f;  // Low-pass filter coefficient (0.0 = no change, 1.0 = instant)

  /* Infinite loop */
  for(;;)
  {
    if(is_battery_charging && is_battery_present)
    {
      // Detect start of new charging session and reset counter
      if (!was_charging) {
        charged_mah = 0;
        accumulated_mah = 0.0f;
        filtered_power = 0.0f;
        charging_power = 0;
        was_charging = 1;
      }

      // The PI controller is now active.
      // It will handle CC/CV phases and PWM duty cycle adjustments.
      charger_update(&current_battery_voltages);

      // Accumulate charged mAh: mAh = (current_A * time_ms / 3600.0)
      VoltageValues v = get_battery_voltages_safe();
      float current_a = v.current;
      float voltage_v = v.battery_voltage;
      uint32_t period_ms = charger_get_update_period_ms();

      if (current_a > 0.0f) {
        float mah_delta = (current_a * (float)period_ms) / 3600.0f;
        accumulated_mah += mah_delta;
        charged_mah = (uint16_t)accumulated_mah;
      }

      // Calculate instantaneous power and apply exponential moving average filter
      float instant_power = voltage_v * current_a;  // Watts
      filtered_power = alpha * instant_power + (1.0f - alpha) * filtered_power;
      charging_power = (uint16_t)filtered_power;  // Store as Watts
    }
    else
    {
      // If charging is globally disabled or battery is unplugged,
      // ensure the hardware is turned off.
      const char *reason = NULL;
      if (!is_battery_present) {
        reason = "battery not present";
      } else if (!is_battery_charging) {
        reason = "charging disabled flag";
      } else {
        reason = "charger idle guard";
      }
      charger_disable_with_reason(reason);
      was_charging = 0;  // Reset flag when not charging
      charging_power = 0;  // Reset power when not charging
    }

    // This function checks fan speed and can set a fault flag.
    CalculateFanRPM(charger_get_update_period_ms());

    // Print balancer duty status
    if (DEBUG_BALANCE) {
      printBalanceDuty();
    }

    // The task will now sleep for the duration configured in the charger settings.
    osDelay(charger_get_update_period_ms());
  }
  /* USER CODE END ChargerTaskHandler */
}

void AdcTaskHandler(void *argument)
{
  /* USER CODE BEGIN AdcTaskHandler */
  char msg[64];
  uint8_t found = 0;
  uint8_t fan_error_sent = 0;
  // Scan I2C addresses 0x03 to 0x77 only once on startup
  HAL_UART_Transmit(&huart1, (uint8_t*)"[INIT] AdcTaskHandler started\r\n", 30, HAL_MAX_DELAY);
  for (uint8_t addr = 0x03; addr <= 0x77; addr++) {
    if (HAL_I2C_IsDeviceReady(&hi2c1, addr << 1, 2, 10) == HAL_OK) {
      int len = snprintf(msg, sizeof(msg), "[ADC] ADS1115 device found at 0x%02X\r\n", addr);
      HAL_UART_Transmit(&huart1, (uint8_t*)msg, len, HAL_MAX_DELAY);
      if (addr == 0x48) {
        found = 1;
      }
    }
    osDelay(2);
  }
  if (!found) {
    snprintf(msg, sizeof(msg), "[ERROR] ADS1115 NOT detected!\r\n");
  }
  HAL_UART_Transmit(&huart1, (uint8_t*)msg, strlen(msg), HAL_MAX_DELAY);
  // Infinite loop
  for (;;) {
    VoltageValues new_voltages = ads1115_read_all_voltages(&hi2c1);
    set_battery_voltages_safe(&new_voltages);  // Thread-safe update with mutex

    is_battery_present = (new_voltages.battery_voltage > 12.0f) ? 1U : 0U;

    if (!is_battery_present) {
      charger_faults.battery_not_present = true;
    } else {
      charger_faults.battery_not_present = false;
    }

    if (new_voltages.buck_voltage > 26.0f) {
      HAL_UART_Transmit(&huart1,
                        (const uint8_t *)"[ERROR] Buck voltage too high!\r\n",
                        32,
                        HAL_MAX_DELAY);
      disable_all_pwm();
      charger_disable_with_reason("buck overvoltage");
    }

    if (charger_faults.fan_error && fan_error_sent == 0) {
      HAL_UART_Transmit(&huart1,
                        (const uint8_t *)"[ERROR] Fan error detected!\r\n",
                        30,
                        HAL_MAX_DELAY);
      fan_error_sent = 1;
      disable_all_pwm();
      charger_disable_with_reason("fan error detected");
    }
    else if (!charger_faults.fan_error && fan_error_sent) {
      HAL_UART_Transmit(&huart1,
                        (const uint8_t *)"[FAN] Fan error cleared!\r\n",
                        27,
                        HAL_MAX_DELAY);
      fan_error_sent = 0;
    }

    osDelay(50);
  }
  /* USER CODE END AdcTaskHandler */
}

void BalanceTaskHandler(void *argument)
{
  /* USER CODE BEGIN BalanceTaskHandler */
  const uint32_t balance_period_ms = 1000U;
  const float balance_deadband_v = 0.010f;   // 10 mV window around the lowest cell
  const float min_cell_for_balance = 3.0f;   // skip balancing if pack is deeply discharged

  balance_controller_configure(200.0f,   // ~20% duty for a 50 mV delta
                               0.02f,    // enable threshold in volts (20mV)
                               0.01f,    // disable threshold (10mV)
                               250U,     // minimum on-time in ms
                               60U);     // max PWM duty percent

  // IMPORTANT: Balancing is DISABLED by default and only enabled via CAN command
  can_balance_enabled = 0;

  /* Infinite loop */
  for(;;)
  {
    // In manual mode we leave CAN-set PWM values untouched
    if (manual_balance_mode) {
      osDelay(balance_period_ms);
      continue;
    }

    VoltageValues snapshot = get_battery_voltages_safe();  // Thread-safe read with mutex
    bool can_balance = can_balance_enabled;  // Use global enable flag

    // Track the minimum and maximum cell to understand pack imbalance.
    float lowest = snapshot.cell[0];
    float highest = snapshot.cell[0];
    for (uint8_t i = 1; i < 6; ++i) {
      if (snapshot.cell[i] < lowest) {
        lowest = snapshot.cell[i];
      }
      if (snapshot.cell[i] > highest) {
        highest = snapshot.cell[i];
      }
    }

    // Calculate spread for all cells (needed for debug regardless of balance state)
    float spread = highest - lowest;

    // Skip balancing when the pack is disconnected or deeply discharged.
    if (!is_battery_present || lowest < min_cell_for_balance) {
      can_balance = false;
    }

    // Require sufficient spread before enabling balancing (cells are imbalanced enough to need balancing)
    // Disable when spread drops below deadband (cells are sufficiently balanced)
    if (can_balance) {
      if (spread < balance_deadband_v) {
        can_balance = false;  // Spread too small, balancing done
      }
    }

    // Turn off balancing when not allowed, otherwise run balance controllers
    if (!can_balance) {
      balance_disable_all_cells();  // Turns off all PWM and resets state
    } else {
      // Actively balance all cells toward the lowest cell + deadband window.
      // (debug output is in balance_all_cells() to avoid UART collision)
      balance_all_cells(snapshot.cell, 6, balance_deadband_v);
    }

    osDelay(balance_period_ms);
  }
  /* USER CODE END BalanceTaskHandler */
}

void HAL_TIM_PeriodElapsedCallback(TIM_HandleTypeDef *htim)
{
  if (htim->Instance == TIM1)
  {
    HAL_IncTick();
  }
}

void Error_Handler(void)
{
  /* USER CODE BEGIN Error_Handler_Debug */
  /* User can add his own implementation to report the HAL error return state */
  char uart_buffer[100];
  int len = snprintf(uart_buffer, sizeof(uart_buffer), "[ERROR] Critical error occurred!\r\n");
  HAL_UART_Transmit(&huart1, (uint8_t*)uart_buffer, len, HAL_MAX_DELAY);
  __disable_irq();
  while (1)
  {
  }
  /* USER CODE END Error_Handler_Debug */
}
